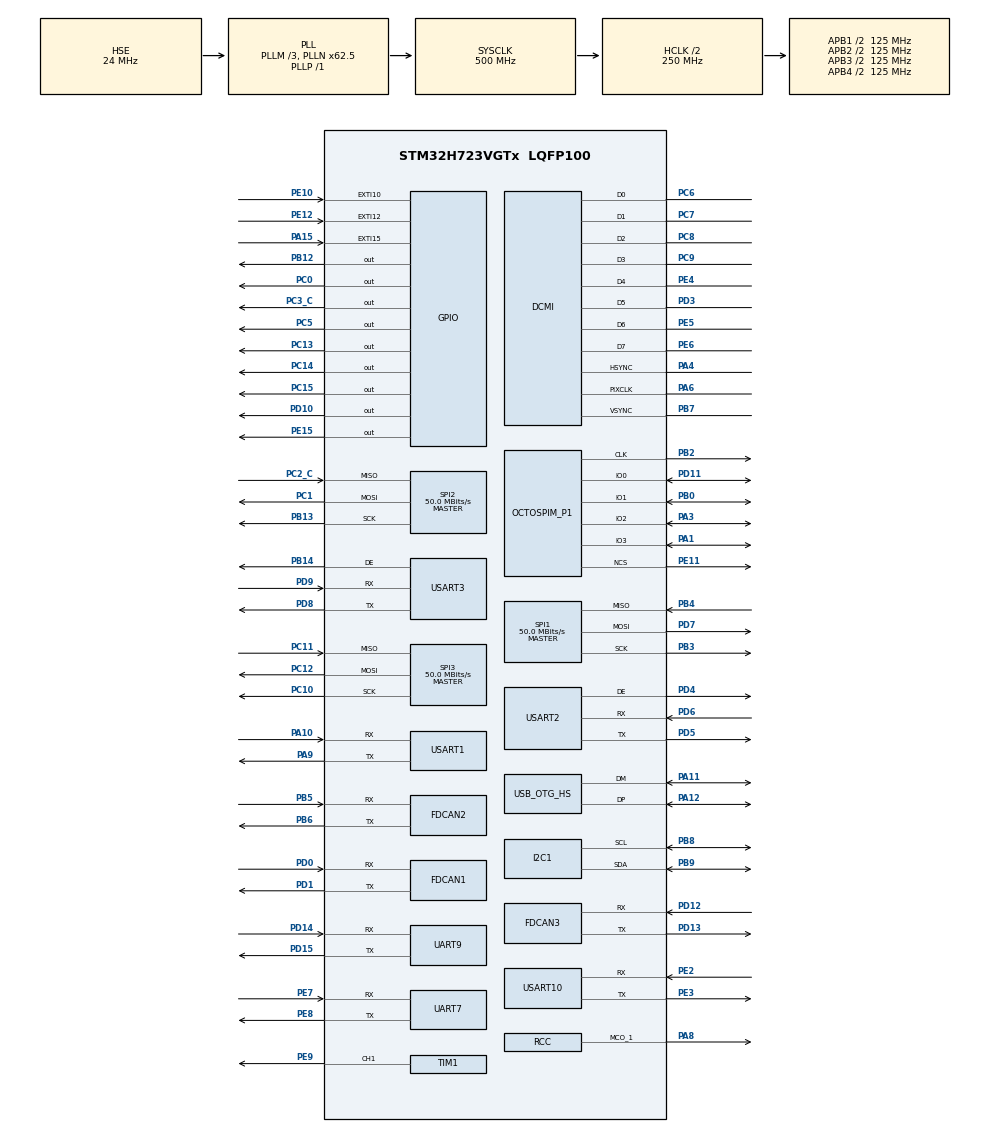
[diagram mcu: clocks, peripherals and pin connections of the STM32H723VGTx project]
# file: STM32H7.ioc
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DCMI.JPEGMode=DCMI_JPEG_DISABLE
FDCAN1.AutoRetransmission=DISABLE
FDCAN1.CalculateBaudRateNominal=1000000
FDCAN1.CalculateTimeBitNominal=1000
FDCAN1.CalculateTimeQuantumNominal=40.0
FDCAN1.DataPrescaler=4
FDCAN1.DataSyncJumpWidth=1
FDCAN1.DataTimeSeg1=19
FDCAN1.DataTimeSeg2=5
FDCAN1.ExtFiltersNbr=5
FDCAN1.FrameFormat=FDCAN_FRAME_CLASSIC
FDCAN1.NominalPrescaler=4
FDCAN1.NominalTimeSeg1=19
FDCAN1.NominalTimeSeg2=5
FDCAN1.ProtocolException=ENABLE
FDCAN1.RxFifo0ElmtSize=FDCAN_DATA_BYTES_24
FDCAN1.RxFifo0ElmtsNbr=4
FDCAN1.RxFifo1ElmtSize=FDCAN_DATA_BYTES_24
FDCAN1.RxFifo1ElmtsNbr=0
FDCAN1.StdFiltersNbr=5
FDCAN1.TransmitPause=DISABLE
FDCAN1.TxElmtSize=FDCAN_DATA_BYTES_24
FDCAN1.TxFifoQueueElmtsNbr=8
FDCAN2.CalculateBaudRateNominal=1000000
FDCAN2.CalculateTimeBitNominal=1000
FDCAN2.CalculateTimeQuantumNominal=50.0
FDCAN2.DataPrescaler=5
FDCAN2.DataSyncJumpWidth=1
FDCAN2.DataTimeSeg1=14
FDCAN2.DataTimeSeg2=5
FDCAN2.ExtFiltersNbr=5
FDCAN2.FrameFormat=FDCAN_FRAME_CLASSIC
FDCAN2.MessageRAMOffset=854
FDCAN2.NominalPrescaler=5
FDCAN2.NominalTimeSeg1=14
FDCAN2.NominalTimeSeg2=5
FDCAN2.ProtocolException=ENABLE
FDCAN2.RxFifo0ElmtsNbr=0
FDCAN2.RxFifo1ElmtSize=FDCAN_DATA_BYTES_24
FDCAN2.RxFifo1ElmtsNbr=4
FDCAN2.StdFiltersNbr=5
FDCAN2.TxElmtSize=FDCAN_DATA_BYTES_16
FDCAN2.TxFifoQueueElmtsNbr=4
FDCAN3.CalculateBaudRateNominal=1250000
FDCAN3.CalculateTimeBitNominal=800
FDCAN3.CalculateTimeQuantumNominal=160.0
I2C1.Timing=0x20A0A3F6
Mcu.Family=STM32H7
Mcu.Name=STM32H723VGTx
Mcu.Package=LQFP100
NVIC.FDCAN1_IT0_IRQn=true\:0\:0\:false\:false\:true\:true\:true\:true
NVIC.FDCAN2_IT0_IRQn=true\:0\:0\:false\:false\:true\:true\:true\:true
NVIC.PriorityGroup=NVIC_PRIORITYGROUP_4
NVIC.TIM2_IRQn=true\:0\:0\:false\:false\:true\:true\:true\:true
PA0.Signal=S_TIM2_CH1_ETR
PA1.Mode=OCTOSPI1_IOL_Port1L
PA1.Signal=OCTOSPIM_P1_IO3
PA10.Mode=Asynchronous
PA10.Signal=USART1_RX
PA11.Mode=Device_Only_FS
PA11.Signal=USB_OTG_HS_DM
PA12.Mode=Device_Only_FS
PA12.Signal=USB_OTG_HS_DP
PA13(JTMS/SWDIO).Mode=Serial_Wire
PA13(JTMS/SWDIO).Signal=DEBUG_JTMS-SWDIO
PA14(JTCK/SWCLK).Mode=Serial_Wire
PA14(JTCK/SWCLK).Signal=DEBUG_JTCK-SWCLK
PA15(JTDI).Signal=GPXTI15
PA2.Signal=S_TIM2_CH3
PA3.Mode=OCTOSPI1_IOL_Port1L
PA3.Signal=OCTOSPIM_P1_IO2
PA4.Mode=Slave_8_bits_External_Synchro
PA4.Signal=DCMI_HSYNC
PA5.Signal=ADCx_INN18
PA6.Mode=Slave_8_bits_External_Synchro
PA6.Signal=DCMI_PIXCLK
PA7.Signal=SPI6_MOSI
PA8.Mode=Clock-out-1
PA8.Signal=RCC_MCO_1
PA9.Mode=Asynchronous
PA9.Signal=USART1_TX
PB0.Mode=OCTOSPI1_IOL_Port1L
PB0.Signal=OCTOSPIM_P1_IO1
PB1.Signal=S_TIM3_CH4
PB10.Signal=I2C2_SCL
PB11.Signal=I2C2_SDA
PB12.Signal=GPIO_Output
PB13.Mode=Full_Duplex_Master
PB13.Signal=SPI2_SCK
PB14.Mode=Hardware Flow Control (RS485)
PB14.Signal=USART3_DE
PB15.Signal=S_TIM12_CH2
PB2.Mode=O1_P1_CLK
PB2.Signal=OCTOSPIM_P1_CLK
PB3(JTDO/TRACESWO).Mode=Full_Duplex_Master
PB3(JTDO/TRACESWO).Signal=SPI1_SCK
PB4(NJTRST).Mode=Full_Duplex_Master
PB4(NJTRST).Signal=SPI1_MISO
PB5.Mode=FDCAN_Activate
PB5.Signal=FDCAN2_RX
PB6.Mode=FDCAN_Activate
PB6.Signal=FDCAN2_TX
PB7.Mode=Slave_8_bits_External_Synchro
PB7.Signal=DCMI_VSYNC
PB8.GPIO_Pu=GPIO_PULLUP
PB8.Mode=I2C
PB8.Signal=I2C1_SCL
PB9.GPIO_Pu=GPIO_PULLUP
PB9.Mode=I2C
PB9.Signal=I2C1_SDA
PC0.Signal=GPIO_Output
PC1.Mode=Full_Duplex_Master
PC1.Signal=SPI2_MOSI
PC10.Mode=Full_Duplex_Master
PC10.Signal=SPI3_SCK
PC11.Mode=Full_Duplex_Master
PC11.Signal=SPI3_MISO
PC12.Mode=Full_Duplex_Master
PC12.Signal=SPI3_MOSI
PC13.Signal=GPIO_Output
PC14-OSC32_IN.Signal=GPIO_Output
PC15-OSC32_OUT.Signal=GPIO_Output
PC2_C.Mode=Full_Duplex_Master
PC2_C.Signal=SPI2_MISO
PC3_C.Signal=GPIO_Output
PC4.Signal=ADCx_INP4
PC5.Signal=GPIO_Output
PC6.Mode=Slave_8_bits_External_Synchro
PC6.Signal=DCMI_D0
PC7.Mode=Slave_8_bits_External_Synchro
PC7.Signal=DCMI_D1
PC8.Mode=Slave_8_bits_External_Synchro
PC8.Signal=DCMI_D2
PC9.Mode=Slave_8_bits_External_Synchro
PC9.Signal=DCMI_D3
PD0.Mode=FDCAN_Activate
PD0.Signal=FDCAN1_RX
PD1.Mode=FDCAN_Activate
PD1.Signal=FDCAN1_TX
PD10.Signal=GPIO_Output
PD11.Mode=OCTOSPI1_IOL_Port1L
PD11.Signal=OCTOSPIM_P1_IO0
PD12.Mode=FDCAN_Activate
PD12.Signal=FDCAN3_RX
PD13.Mode=FDCAN_Activate
PD13.Signal=FDCAN3_TX
PD14.Mode=Asynchronous
PD14.Signal=UART9_RX
PD15.Mode=Asynchronous
PD15.Signal=UART9_TX
PD2.Signal=UART5_RX
PD3.Mode=Slave_8_bits_External_Synchro
PD3.Signal=DCMI_D5
PD4.Mode=Hardware Flow Control (RS485)
PD4.Signal=USART2_DE
PD5.Mode=Asynchronous
PD5.Signal=USART2_TX
PD6.Mode=Asynchronous
PD6.Signal=USART2_RX
PD7.Mode=Full_Duplex_Master
PD7.Signal=SPI1_MOSI
PD8.Mode=Asynchronous
PD8.Signal=USART3_TX
PD9.Mode=Asynchronous
PD9.Signal=USART3_RX
PE0.Signal=UART8_RX
PE1.Signal=UART8_TX
PE10.Signal=GPXTI10
PE11.Mode=OCTOSPI1_Port1_NCS
PE11.Signal=OCTOSPIM_P1_NCS
PE12.Signal=GPXTI12
PE13.Signal=S_TIM1_CH3
PE14.Signal=SPI4_MOSI
PE15.Signal=GPIO_Output
PE2.Mode=Asynchronous
PE2.Signal=USART10_RX
PE3.Mode=Asynchronous
PE3.Signal=USART10_TX
PE4.Mode=Slave_8_bits_External_Synchro
PE4.Signal=DCMI_D4
PE5.Mode=Slave_8_bits_External_Synchro
PE5.Signal=DCMI_D6
PE6.Mode=Slave_8_bits_External_Synchro
PE6.Signal=DCMI_D7
PE7.Mode=Asynchronous
PE7.Signal=UART7_RX
PE8.Mode=Asynchronous
PE8.Signal=UART7_TX
PE9.Signal=S_TIM1_CH1
PH0-OSC_IN.Mode=HSE-External-Oscillator
PH0-OSC_IN.Signal=RCC_OSC_IN
PH1-OSC_OUT.Mode=HSE-External-Oscillator
PH1-OSC_OUT.Signal=RCC_OSC_OUT
ProjectManager.HeapSize=0x200
ProjectManager.StackSize=0x400
ProjectManager.TargetToolchain=MDK-ARM V5.32
RCC.ADCFreq_Value=81473684.21052632
RCC.APB1Freq_Value=125000000
RCC.APB2Freq_Value=125000000
RCC.APB3Freq_Value=125000000
RCC.APB4Freq_Value=125000000
RCC.CortexFreq_Value=500000000
RCC.D1PPRE=RCC_APB3_DIV2
RCC.D2PPRE1=RCC_APB1_DIV2
RCC.D2PPRE2=RCC_APB2_DIV2
RCC.D3PPRE=RCC_APB4_DIV2
RCC.DIVM1=3
RCC.DIVM2=19
RCC.DIVN1=62
RCC.DIVP1=1
RCC.DIVQ1=5
RCC.HCLKFreq_Value=250000000
RCC.HPRE=RCC_HCLK_DIV2
RCC.HSE_VALUE=24000000
RCC.PLL2FRACN=0
RCC.PLL3FRACN=0
RCC.PLLFRACN=4096
RCC.PLLSourceVirtual=RCC_PLLSOURCE_HSE
RCC.RCC_MCO1Source=RCC_MCO1SOURCE_HSE
RCC.SYSCLKFreq_VALUE=500000000
RCC.SYSCLKSource=RCC_SYSCLKSOURCE_PLLCLK
RCC.USBCLockSelection=RCC_USBCLKSOURCE_HSI48
RCC.USBFreq_Value=48000000
SH.ADCx_INN18.0=ADC1_INN18
SH.ADCx_INP4.0=ADC1_INP4
SH.S_TIM12_CH2.0=TIM12_CH2
SH.S_TIM1_CH1.0=TIM1_CH1,PWM Generation1 CH1
SH.S_TIM1_CH3.0=TIM1_CH3
SH.S_TIM2_CH1_ETR.0=TIM2_CH1
SH.S_TIM2_CH3.0=TIM2_CH3
SH.S_TIM3_CH4.0=TIM3_CH4
SPI1.BaudRatePrescaler=SPI_BAUDRATEPRESCALER_2
SPI1.CalculateBaudRate=50.0 MBits/s
SPI1.Direction=SPI_DIRECTION_2LINES
SPI1.Mode=SPI_MODE_MASTER
SPI1.VirtualType=VM_MASTER
SPI2.BaudRatePrescaler=SPI_BAUDRATEPRESCALER_2
SPI2.CalculateBaudRate=50.0 MBits/s
SPI2.Direction=SPI_DIRECTION_2LINES
SPI2.Mode=SPI_MODE_MASTER
SPI2.VirtualNSS=VM_NSSHARD
SPI2.VirtualType=VM_MASTER
SPI3.BaudRatePrescaler=SPI_BAUDRATEPRESCALER_2
SPI3.CalculateBaudRate=50.0 MBits/s
SPI3.Direction=SPI_DIRECTION_2LINES
SPI3.Mode=SPI_MODE_MASTER
SPI3.VirtualType=VM_MASTER
TIM1.Channel-PWM\ Generation1\ CH1=TIM_CHANNEL_1
TIM1.Channel-PWM\ Generation2\ CH2=TIM_CHANNEL_2
TIM1.Channel-PWM\ Generation3\ CH3=TIM_CHANNEL_3
TIM1.Channel-PWM\ Generation4\ CH4=TIM_CHANNEL_4
TIM2.Period=999
TIM2.Prescaler=249
USART1.VirtualMode-Asynchronous=VM_ASYNC
USART10.VirtualMode=VM_ASYNC
USART2.VirtualMode-Asynchronous=VM_ASYNC
USART2.VirtualMode-Hardware\ Flow\ Control\ (RS485)=VM_ASYNC
USART3.VirtualMode-Asynchronous=VM_ASYNC
USART3.VirtualMode-Hardware\ Flow\ Control\ (RS485)=VM_ASYNC
USB_OTG_HS.VirtualMode-Device_Only_FS=Device_Only_FS
VP_OCTOSPI1_VS_quad.Mode=quad_mode
VP_TIM2_VS_ClockSourceINT.Mode=Internal
board=custom

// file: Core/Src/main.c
/* USER CODE BEGIN Header */
/**
  ******************************************************************************
  * @file           : main.c
  * @brief          : Main program body
  ******************************************************************************
  * @attention
  *
  * Copyright (c) 2024 STMicroelectronics.
  * All rights reserved.
  *
  * This software is licensed under terms that can be found in the LICENSE file
  * in the root directory of this software component.
  * If no LICENSE file comes with this software, it is provided AS-IS.
  *
  ******************************************************************************
  */
/* USER CODE END Header */
#include "main.h"
#include "dcmi.h"
#include "fdcan.h"
#include "i2c.h"
#include "octospi.h"
#include "spi.h"
#include "tim.h"
#include "usart.h"
#include "usb_otg.h"
#include "gpio.h"

/* USER CODE BEGIN Includes */
#include "can_bsp.h"
#include "dm_drv.h"
#include <stdio.h>
#include "EventRecorder.h"
/* USER CODE END Includes */

/* USER CODE BEGIN PD */
#define CONTROL_PERIOD_US 1000 // 1kHz control frequency
#define TOGGLE_PERIOD_US 5000000  // 5 seconds in microseconds
OpenArm_t arm;
/* USER CODE END PD */

void SystemClock_Config(void);

int main(void)
{

  /* MCU Configuration--------------------------------------------------------*/

  /* Reset of all peripherals, Initializes the Flash interface and the Systick. */
  HAL_Init();

  /* Configure the system clock */
  SystemClock_Config();

  /* Initialize all configured peripherals */
  MX_GPIO_Init();
  MX_DCMI_Init();
  MX_FDCAN1_Init();
  MX_FDCAN3_Init();
  MX_I2C1_Init();
  MX_OCTOSPI1_Init();
  MX_SPI1_Init();
  MX_SPI2_Init();
  MX_SPI3_Init();
  MX_TIM1_Init();
  MX_UART7_Init();
  MX_UART9_Init();
  MX_USART1_UART_Init();
  MX_USART2_UART_Init();
  MX_USART3_UART_Init();
  MX_USART10_UART_Init();
  MX_USB_OTG_HS_PCD_Init();
  MX_FDCAN2_Init();
  MX_TIM2_Init();
  /* USER CODE BEGIN 2 */
  oa_gpio_13_on();
  oa_gpio_14_on();
  HAL_Delay(200);
  FDCAN1_Config();
  FDCAN2_Config();

  int id[NUM_MOTORS];
  int master_id[NUM_MOTORS];
  float zero[NUM_MOTORS];
  float one[NUM_MOTORS];
  int mode = MIT_MODE;
  MotorType_t type[NUM_MOTORS] = {DM4310, DM4310, DM4310, DM4310, DM4310, DM4310, DM4310, DM4310};

  for (int i = 0; i < NUM_MOTORS; ++i) {
    id[i] = i + 1; // 0x01 to 0x08
    master_id[i] = 0x10 + (i + 1); // 0x11 to 0x18
    zero[i] = 0.0f;
    one[i] = 1.0f;
  }

  //openarm setup
  openarm_init(&arm, id, master_id, mode, type);
  HAL_Delay(1000);
  openarm_enable(&arm, &hfdcan1);

  HAL_TIM_Base_Start(&htim2);

  // starting event recorder for debugging purposes
  EventRecorderInitialize(EventRecordAll, 1);

  uint32_t toggle_timer = 0;
  uint8_t toggle = 0;
  uint32_t t_schedule = 0;
  __HAL_TIM_SET_COUNTER(&htim2, 0);  // Reset timer to avoid drift
  /* USER CODE END 2 */

  /* Infinite loop */
  /* USER CODE BEGIN WHILE */
  while (1)
  {
    t_schedule += CONTROL_PERIOD_US;

    int32_t td = t_schedule - __HAL_TIM_GET_COUNTER(&htim2);

    if (td > 0) {
      td += 0xFFFFFFFF; // Account for overflow
      while (__HAL_TIM_GET_COUNTER(&htim2) < t_schedule);  // Wait for the required time
    } else {
      printf("WARNING: Control loop overran by %d us!\n", -td);
    }

    toggle_timer += CONTROL_PERIOD_US;

    if (toggle_timer >= TOGGLE_PERIOD_US) {
      toggle ^= 1;
      toggle_timer = 0;
    }

    EventRecord2(0x03, 0x00, 0x00); // example of recording event in event recorder

    if (toggle) {
      move_mit_all(&arm, &hfdcan1, zero, zero, zero, zero, one);
    } else {
      move_mit_all(&arm, &hfdcan1, zero, zero, zero, zero, zero);
    }
    /* USER CODE END WHILE */

    /* USER CODE BEGIN 3 */
  }

  openarm_disable(&arm, &hfdcan1);

  /* USER CODE END 3 */
}

void SystemClock_Config(void)
{
  RCC_OscInitTypeDef RCC_OscInitStruct = {0};
  RCC_ClkInitTypeDef RCC_ClkInitStruct = {0};

  /** Supply configuration update enable
  */
  HAL_PWREx_ConfigSupply(PWR_LDO_SUPPLY);

  /** Configure the main internal regulator output voltage
  */
  __HAL_PWR_VOLTAGESCALING_CONFIG(PWR_REGULATOR_VOLTAGE_SCALE0);

  while(!__HAL_PWR_GET_FLAG(PWR_FLAG_VOSRDY)) {}

  /** Initializes the RCC Oscillators according to the specified parameters
  * in the RCC_OscInitTypeDef structure.
  */
  RCC_OscInitStruct.OscillatorType = RCC_OSCILLATORTYPE_HSI48|RCC_OSCILLATORTYPE_HSE;
  RCC_OscInitStruct.HSEState = RCC_HSE_ON;
  RCC_OscInitStruct.HSI48State = RCC_HSI48_ON;
  RCC_OscInitStruct.PLL.PLLState = RCC_PLL_ON;
  RCC_OscInitStruct.PLL.PLLSource = RCC_PLLSOURCE_HSE;
  RCC_OscInitStruct.PLL.PLLM = 3;
  RCC_OscInitStruct.PLL.PLLN = 62;
  RCC_OscInitStruct.PLL.PLLP = 1;
  RCC_OscInitStruct.PLL.PLLQ = 5;
  RCC_OscInitStruct.PLL.PLLR = 2;
  RCC_OscInitStruct.PLL.PLLRGE = RCC_PLL1VCIRANGE_3;
  RCC_OscInitStruct.PLL.PLLVCOSEL = RCC_PLL1VCOWIDE;
  RCC_OscInitStruct.PLL.PLLFRACN = 4096;
  if (HAL_RCC_OscConfig(&RCC_OscInitStruct) != HAL_OK)
  {
    Error_Handler();
  }

  /** Initializes the CPU, AHB and APB buses clocks
  */
  RCC_ClkInitStruct.ClockType = RCC_CLOCKTYPE_HCLK|RCC_CLOCKTYPE_SYSCLK
                              |RCC_CLOCKTYPE_PCLK1|RCC_CLOCKTYPE_PCLK2
                              |RCC_CLOCKTYPE_D3PCLK1|RCC_CLOCKTYPE_D1PCLK1;
  RCC_ClkInitStruct.SYSCLKSource = RCC_SYSCLKSOURCE_PLLCLK;
  RCC_ClkInitStruct.SYSCLKDivider = RCC_SYSCLK_DIV1;
  RCC_ClkInitStruct.AHBCLKDivider = RCC_HCLK_DIV2;
  RCC_ClkInitStruct.APB3CLKDivider = RCC_APB3_DIV2;
  RCC_ClkInitStruct.APB1CLKDivider = RCC_APB1_DIV2;
  RCC_ClkInitStruct.APB2CLKDivider = RCC_APB2_DIV2;
  RCC_ClkInitStruct.APB4CLKDivider = RCC_APB4_DIV2;

  if (HAL_RCC_ClockConfig(&RCC_ClkInitStruct, FLASH_LATENCY_3) != HAL_OK)
  {
    Error_Handler();
  }
  HAL_RCC_MCOConfig(RCC_MCO1, RCC_MCO1SOURCE_HSE, RCC_MCODIV_1);
}

void Error_Handler(void)
{
  __disable_irq();
  while (1)
  {
  }
}
